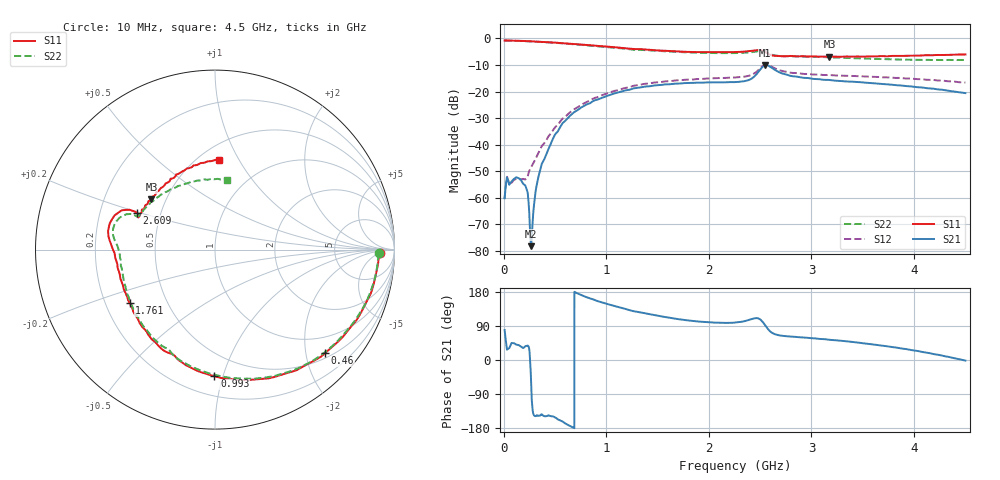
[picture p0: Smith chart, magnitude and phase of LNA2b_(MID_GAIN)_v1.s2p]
! Created Tue Apr 16 19:44:03 2013
# ghz S ma R 50
! 2 Port Network Data from SP1.SP block
! freq  magS11  angS11  magS21  angS21  magS12  angS12  magS22  angS22
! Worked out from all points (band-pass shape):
!   4491 points, 10 MHz to 4.5 GHz, reference 50 ohm
!   highest |S21| = -10.05 dB at 2.547 GHz (marker M1); lowest = -78.2 dB at 268 MHz (marker M2)
!   |S21| within 3 dB of the highest: 2.474 GHz to 2.704 GHz (229.4 MHz wide, 8.86 % of centre)
!   lowest |S11| = -6.9 dB at 3.175 GHz (marker M3), VSWR 2.64, Z = 20.8 + j14.6 ohm
!   |S11| at or under -10 dB: nowhere
!   |S22| runs from -8.2 to -0.8 dB; largest |S21 - S12| = 0.059
!   S11 on the Smith chart (normalised r, x): 10 MHz: 22, -6; 460 MHz: 0.60, -2.39; 993 MHz: 0.33, -0.94; 1.761 GHz: 0.30, -0.26; 2.609 GHz: 0.36, +0.20; 4.5 GHz: 0.63, +0.83
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0.01  0.9169 -1.3  0.0009788 79.0  0.0009514 76.9  0.9161 -1.3
0.043  0.9125 -3.9  0.002128 29.2  0.002195 23.0  0.9094 -4.1
0.191  0.8966 -17.5  0.001828 31.4  0.00226 -35.8  0.8934 -17.9
0.227  0.8891 -21.4  0.001398 37.5  0.002383 -64.3  0.8871 -21.2
0.268  0.8825 -25.6  0.0001224 -60.5  0.003755 -97.9  0.8785 -25.0
0.28  0.8811 -26.6  0.000271 -121.7  0.004106 -103.8  0.8768 -26.0
0.311  0.8729 -28.8  0.001274 -148.2  0.005371 -117.7  0.8692 -28.8
0.347  0.8657 -32.6  0.002817 -146.1  0.00745 -128.0  0.8603 -32.3
0.46  0.8422 -43.3  0.01033 -148.2  0.01616 -144.1  0.8379 -42.8
0.577  0.8135 -54.3  0.02558 -162.9  0.03109 -159.0  0.8084 -54.4
0.759  0.7671 -69.8  0.05041 171.5  0.05666 178.4  0.7559 -71.4
0.993  0.7051 -90.3  0.08122 149.3  0.09008 156.9  0.69 -92.8
1.507  0.5931 -130.8  0.132 116.5  0.1493 124.1  0.5826 -133.8
1.761  0.5611 -148.0  0.1443 105.8  0.1667 113.2  0.5493 -150.7
2.255  0.5569 -174.7  0.1506 98.7  0.1838 102.3  0.5307 -176.1
2.409  0.58 177.0  0.1715 107.3  0.2033 106.5  0.5489 176.9
2.547  0.5636 157.2  0.3145 92.3  0.3205 95.6  0.5583 161.2
2.609  0.4829 154.8  0.2827 72.9  0.2958 80.3  0.4956 156.8
3.004  0.4592 148.0  0.1748 57.6  0.2106 67.0  0.4509 148.0
3.175  0.4509 141.8  0.1655 53.2  0.205 62.7  0.4381 141.9
3.752  0.4625 118.9  0.1362 35.3  0.1846 44.3  0.4052 117.7
4.5  0.4993 87.1  0.0934 -1.6  0.1475 9.9  0.3916 79.9
